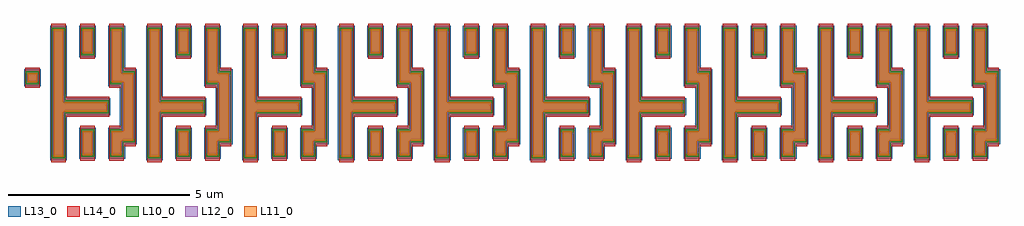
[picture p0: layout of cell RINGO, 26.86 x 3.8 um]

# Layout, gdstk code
import gdstk
lib = gdstk.Library(unit=1e-6, precision=1e-09)
def R(c, l, rs):  # rectangles x0, y0, x1, y1
    for r in rs: c.add(gdstk.rectangle(r[:2], r[2:], *l))
def P(c, l, *ps):  # polygons
    for p in ps: c.add(gdstk.Polygon(p, *l))
L10_0 = (10, 0)
L11_0 = (11, 0)
L12_0 = (12, 0)
L13_0 = (13, 0)
L14_0 = (14, 0)

trans = lib.new_cell('TRANS')
R(trans, L10_0, [(-0.58,-0.38,-0.22,0.38), (0.22,-0.38,0.58,0.38)])

inv2 = lib.new_cell('INV2')
R(inv2, L10_0, [(-0.98,-0.42,-0.62,2.42), (-0.8,0.82,0.58,1.18)])
P(inv2, L10_0, [(0.8,0.02),(0.8,0.38),(0.94,0.38),(0.94,1.62),(0.62,1.62),(0.62,2.42),(0.98,2.42),(0.98,1.98),(1.3,1.98),(1.3,0.02)])
R(inv2, L11_0, [(-0.13,-0.33,0.13,0.33), (-0.13,2.47,0.13,3.13)])
P(inv2, L11_0, [(-0.93,-0.37),(-0.93,3.13),(-0.67,3.13),(-0.67,1.13),(0.53,1.13),(0.53,0.87),(-0.67,0.87),(-0.67,-0.37)],
  [(0.67,-0.33),(0.67,0.33),(0.99,0.33),(0.99,1.67),(0.67,1.67),(0.67,3.13),(0.93,3.13),(0.93,1.93),(1.25,1.93),(1.25,0.07),(0.93,0.07),(0.93,-0.33)])
R(inv2, L12_0, [(-0.16,-0.28,0.16,0.28), (-0.16,2.52,0.16,3.08)])
P(inv2, L12_0, [(-0.96,-0.32),(-0.96,3.08),(-0.64,3.08),(-0.64,1.08),(0.56,1.08),(0.56,0.92),(-0.64,0.92),(-0.64,-0.32)],
  [(0.64,-0.28),(0.64,0.28),(0.96,0.28),(0.96,1.72),(0.64,1.72),(0.64,3.08),(0.96,3.08),(0.96,1.88),(1.28,1.88),(1.28,0.12),(0.96,0.12),(0.96,-0.28)])
R(inv2, L13_0, [(-1.03,-0.47,-0.57,3.23), (-0.23,-0.43,0.23,0.43), (0.57,-0.43,1.03,-0.03), (0.57,-0.03,1.35,0.43), (0.89,0.43,1.35,1.57), (-0.57,0.77,0.63,1.23), (0.57,1.57,1.35,2.03), (0.57,2.03,1.03,3.23), (-0.23,2.37,0.23,3.23)])
R(inv2, L14_0, [(-1,-0.52,-0.6,3.28), (-0.2,-0.48,0.2,0.48), (0.6,-0.48,1,-0.08), (0.6,-0.08,1.32,0.48), (0.92,0.48,1.32,1.52), (-0.6,0.72,0.6,1.28), (0.6,1.52,1.32,2.08), (0.6,2.08,1,3.28), (-0.2,2.32,0.2,3.28)])
inv2.add(gdstk.Reference(trans, (-0.4,0)))
inv2.add(gdstk.Reference(trans, (-0.4,2.8)))
inv2.add(gdstk.Reference(trans, (0.4,0), x_reflection=True))
inv2.add(gdstk.Reference(trans, (0.4,2.8), x_reflection=True))

ringo = lib.new_cell('RINGO')
R(ringo, L10_0, [(-1.7,1.62,-1.34,1.98)])
R(ringo, L11_0, [(-1.65,1.67,-1.39,1.93)])
R(ringo, L12_0, [(-1.68,1.72,-1.36,1.88)])
R(ringo, L13_0, [(-1.75,1.57,-1.29,2.03)])
R(ringo, L14_0, [(-1.72,1.52,-1.32,2.08)])
ringo.add(gdstk.Reference(inv2, (0,0)))
ringo.add(gdstk.Reference(inv2, (2.64,0)))
ringo.add(gdstk.Reference(inv2, (5.28,0)))
ringo.add(gdstk.Reference(inv2, (7.92,0)))
ringo.add(gdstk.Reference(inv2, (10.56,0)))
ringo.add(gdstk.Reference(inv2, (13.2,0)))
ringo.add(gdstk.Reference(inv2, (15.84,0)))
ringo.add(gdstk.Reference(inv2, (18.48,0)))
ringo.add(gdstk.Reference(inv2, (21.12,0)))
ringo.add(gdstk.Reference(inv2, (23.76,0)))

lib.write_gds('RINGO.gds')
